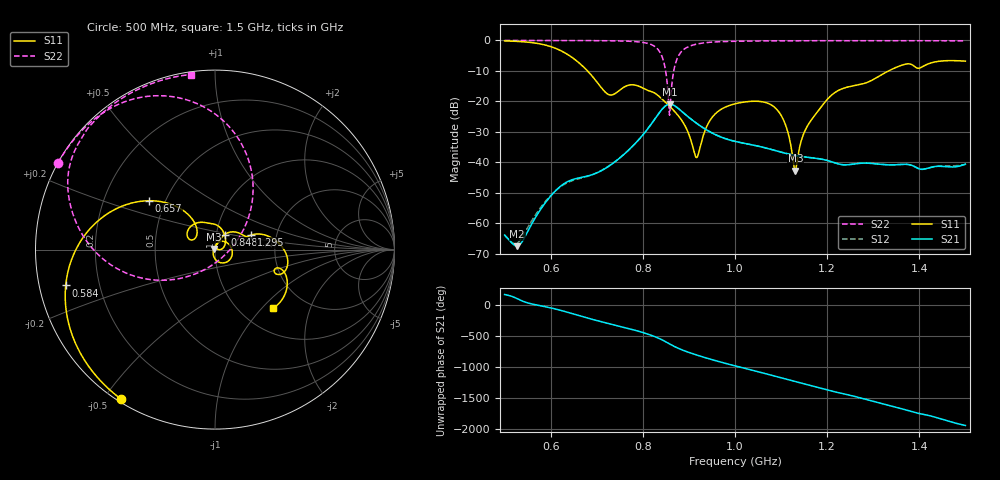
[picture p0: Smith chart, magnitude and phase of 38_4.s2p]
! TOUCHSTONE file generated by CST MICROWAVE STUDIO
! Date and time: Wed Oct 28 19:20:42 2020
! Project name: Scenario_1_Circular_Tissue_out_of_Line.cst
! Parameters = {dy1=295.617; L_HA=400; MT=2.54; Rad_Dielectric=30; Rad_Lower=7.3; Rad_Upper=30; a_HA=580; a_WG=246; b_HA=500; b_WG=121; c_HA=0; c_WG=187; d_feed=85; dx1=693; h_feed=15; h_lower=18; h_upper=40}
! Header version: 2018
! Port assignment regex: !\s*Touchstone port\s*([0-9]+)\s*=\s*(CST MWS port|CST DS port)\s*([0-9]+|Zmin|Zmax)\s*\(\"(.*)\"\)(\s*mode\s*([0-9]+))?.*
! Touchstone port assignment:
! Touchstone port 1 = CST MWS port 1 ("")
! Touchstone port 2 = CST MWS port 2 ("")
# GHz S DB R 50
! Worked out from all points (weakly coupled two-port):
!   1001 points, 500 MHz to 1.5 GHz, reference 50 ohm
!   highest |S21| = -20.93 dB at 859 MHz (marker M1); lowest = -67.6 dB at 527 MHz (marker M2)
!   lowest |S11| = -42.8 dB at 1.131 GHz (marker M3), VSWR 1.01, Z = 49.4 + j0.324 ohm
!   |S11| at or under -10 dB: 679.8 MHz to 1.333 GHz (653.5 MHz wide, 64.9 % of centre)
!   |S22| runs from -24.6 to 0.0 dB; largest |S21 - S12| = 0.00046
!   S11 on the Smith chart (normalised r, x): 500 MHz: 0.01, -0.55; 584 MHz: 0.08, -0.12; 657 MHz: 0.41, +0.28; 848 MHz: 1.10, +0.18; 1.295 GHz: 1.48, +0.25; 1.5 GHz: 1.39, -1.15
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0.5  -0.14 -122.2  -63.89 168.5  -63.97 168.7  -0.01 151.1
0.527  -0.31 -134.2  -67.56 103.7  -66.58 97.4  -0.01 149.4
0.584  -1.36 -166.5  -54.21 -21.5  -53.72 -20.1  -0.02 145.3
0.657  -6.79 143.5  -45.29 -161.6  -45.57 -161.8  -0.04 139.3
0.667  -8.09 137.6  -44.97 176.9  -45.17 176.7  -0.04 138.4
0.726  -17.80 142.6  -41.32 60.6  -41.22 60.8  -0.10 131.5
0.793  -15.13 120.3  -32.26 -67.6  -32.29 -67.6  -0.51 115.9
0.834  -18.20 74.5  -24.11 -174.6  -24.11 -174.6  -3.17 83.9
0.848  -20.15 57.1  -21.62 134.0  -21.63 134.1  -8.78 54.6
0.859  -21.76 44.1  -20.93 88.9  -20.95 89.1  -23.06 -83.7
0.877  -24.73 22.5  -22.34 21.9  -22.35 22.2  -5.17 -168.6
0.917  -38.45 38.9  -27.25 -86.6  -27.27 -86.6  -1.19 159.5
0.95  -25.34 56.7  -30.37 -160.4  -30.37 -160.3  -0.55 149.2
1  -20.81 6.5  -33.15 99.5  -33.13 99.6  -0.28 140.3
1.089  -22.39 -70.0  -36.23 -71.8  -36.23 -72.1  -0.14 130.7
1.111  -28.31 -101.0  -37.12 -115.8  -37.12 -115.8  -0.12 128.8
1.131  -42.81 153.0  -37.77 -154.7  -37.77 -154.6  -0.11 127.2
1.167  -25.83 64.1  -38.54 137.3  -38.54 137.3  -0.10 124.2
1.218  -16.99 44.4  -40.27 38.7  -40.27 38.7  -0.09 120.3
1.295  -13.24 22.0  -40.37 -102.5  -40.36 -102.4  -0.09 114.5
1.334  -9.95 12.4  -40.86 -177.7  -40.85 -177.7  -0.09 111.5
1.5  -6.80 -45.5  -40.61 -140.7  -40.71 -140.6  -0.14 97.9
